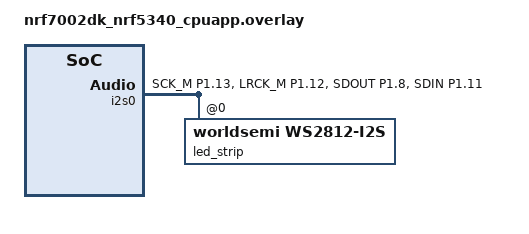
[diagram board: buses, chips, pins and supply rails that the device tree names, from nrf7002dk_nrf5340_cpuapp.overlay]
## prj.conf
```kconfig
CONFIG_SPI=n
CONFIG_LOG=y
CONFIG_I2S=y
CONFIG_LED_STRIP=y
CONFIG_WS2812_STRIP=y
CONFIG_WS2812_STRIP_I2S=y
CONFIG_LED_STRIP_LOG_LEVEL_DBG=y
```

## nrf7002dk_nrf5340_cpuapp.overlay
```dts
#include <zephyr/dt-bindings/led/led.h>

/*
&spi3 {
    status = "okay";
   
    led_strip: ws2812_shield@0 {
        reg = <0>;
        compatible = "worldsemi,ws2812-spi";
        status = "okay";
        chain-length = <9>;
        color-mapping = <LED_COLOR_ID_GREEN LED_COLOR_ID_RED LED_COLOR_ID_BLUE>;
        spi-one-frame = <0x70>;
        spi-zero-frame = <0x40>;
        spi-max-frequency = <4000000>;
    };

};

&spi3_default {
    group1 {
        psels = <NRF_PSEL(SPIM_SCK, 1, 15)>,
                <NRF_PSEL(SPIM_MISO, 1, 14)>,
                <NRF_PSEL(SPIM_MOSI, 1, 8)>;
    };
};
 */

&i2s0 {
    status = "okay";
    pinctrl-0=<&i2s0_default>;
    pinctrl-names = "default";
    // clock-source = "PCLK32M";

    led_strip: ws2812_shield@0 {
        reg = <0>;
        compatible = "worldsemi,ws2812-i2s";
        status = "okay";
		i2s-dev = < &i2s0 >;
        chain-length = <9>;
        color-mapping = <LED_COLOR_ID_GREEN LED_COLOR_ID_RED LED_COLOR_ID_BLUE>;
		reset-delay = <120>;
    };
};

&pinctrl {
    i2s0_default: i2s0_default {
        group1 {
            psels = <NRF_PSEL(I2S_SCK_M, 1, 13)>,
                    <NRF_PSEL(I2S_LRCK_M, 1, 12)>,
                    <NRF_PSEL(I2S_SDOUT, 1, 8)>,
                    <NRF_PSEL(I2S_SDIN, 1, 11)>;
        };
    };   
};

/ {
    aliases {
        /delete-property/ sw0;
        /delete-property/ mcuboot-button0;
    };
};

/delete-node/ &button0;
```

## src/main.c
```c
#include <zephyr/kernel.h>
#include <zephyr/drivers/gpio.h>
#include <zephyr/drivers/led_strip.h>
#include <zephyr/logging/log.h>

LOG_MODULE_REGISTER(main, LOG_LEVEL_DBG);

#define LED_STRIP_SIZE DT_PROP(DT_NODELABEL(led_strip), chain_length)
const struct device *dev = DEVICE_DT_GET(DT_NODELABEL(led_strip));
struct led_rgb led_rgb[LED_STRIP_SIZE];

int main(void)
{
	int ret;
	int i = 3;

	if (!dev) {
		LOG_ERR("LED strip device not found");
		return 0;
	}

	if (!device_is_ready(dev)) {
		LOG_ERR("LED strip device %s is not ready", dev->name);
		return 0;
	}

	LOG_INF("Found LED strip device %s", dev->name);

	while (1) {
		memset(led_rgb, 0, sizeof(led_rgb));
		led_rgb[3].r = 0xff;
		// led_rgb[3].g = 0xff;
		led_rgb[3].b = 0xff;
		
		ret = led_strip_update_rgb(dev, led_rgb, LED_STRIP_SIZE);	
		if (ret < 0) {
			LOG_ERR("failed to update strip");
		}
		
		k_sleep(K_MSEC(1000));
	}

	return 0;
}
```
